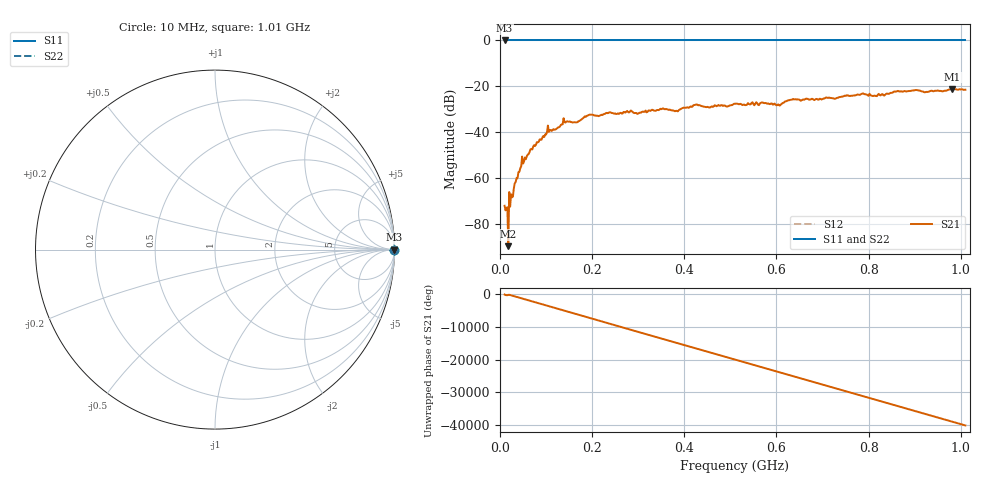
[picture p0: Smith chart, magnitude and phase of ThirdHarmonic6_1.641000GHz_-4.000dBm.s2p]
! 8/16/2025 7:37:40 PM
! C:\ANRITSUVNA\TEMP\TEMP.S2P
! CHANNEL.1
! TR.MEASUREMENT
! RAW.DATA
! RF.CORRECTION.OFF
! AVERAGING.OFF
! IF.BANDWIDTH: 5KHZ
! SWEEPTYPE:  FREQ.SWEEP(Linear)
! Reference Plane Port Info
! PORT:  PORT1  PORT2
! DISTANCE:  0  m  0  m
! TIME:  0  s  0  s
! PHASE.OFFSET:  0  deg.  0  deg.
! LOSS:  0  dB  0  dB
! REF.LOSS:  0  dB  0  dB
! REF.FREQ:  0  Hz  0  Hz
! Power Info
! POWER:  -20  dBm  -20  dBm
! EFF.POWER:  -20  dBm  -20  dBm
! SOURCE.ATTEN:  0  dB  0  dB
! TEST.ATTEN:  0  dB  0  dB
# GHZ S RI R 50.0
! FREQ.GHZ  S11RE  S11IM  S21RE  S21IM  S12RE  S12IM  S22RE  S22IM
!; PortSelection: Port_12
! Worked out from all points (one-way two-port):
!   501 points, 10 MHz to 1.01 GHz, reference 50 ohm
!   highest |S21| = -21.07 dB at 982 MHz (marker M1); lowest = -89.5 dB at 18 MHz (marker M2)
!   lowest |S11| = 0.0 dB at 10 MHz (marker M3)
!   |S11| at or under -10 dB: nowhere
!   |S22| runs from 0.0 to 0.0 dB; largest |S21 - S12| = 1.1
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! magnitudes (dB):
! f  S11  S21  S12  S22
! 10 MHz  0.0  -71.9  0.0  0.0
! 14 MHz  0.0  -72.8  0.0  0.0
! 18 MHz  0.0  -89.5  0.0  0.0
! 44 MHz  0.0  -55.6  0.0  0.0
! 70 MHz  0.0  -47.4  0.0  0.0
! 106 MHz  0.0  -39.8  0.0  0.0
! 122 MHz  0.0  -38.5  0.0  0.0
! 142 MHz  0.0  -35.7  0.0  0.0
! 164 MHz  0.0  -35.6  0.0  0.0
! 178 MHz  0.0  -34.2  0.0  0.0
! 196 MHz  0.0  -32.3  0.0  0.0
! 344 MHz  0.0  -30.3  0.0  0.0
! 382 MHz  0.0  -30.6  0.0  0.0
! 424 MHz  0.0  -28.0  0.0  0.0
! 452 MHz  0.0  -29.0  0.0  0.0
! 510 MHz  0.0  -27.5  0.0  0.0
! 604 MHz  0.0  -27.8  0.0  0.0
! 632 MHz  0.0  -25.8  0.0  0.0
! 678 MHz  0.0  -25.4  0.0  0.0
! 844 MHz  0.0  -23.3  0.0  0.0
! 982 MHz  0.0  -21.1  0.0  0.0
! 1.01 GHz  0.0  -21.4  0.0  0.0
